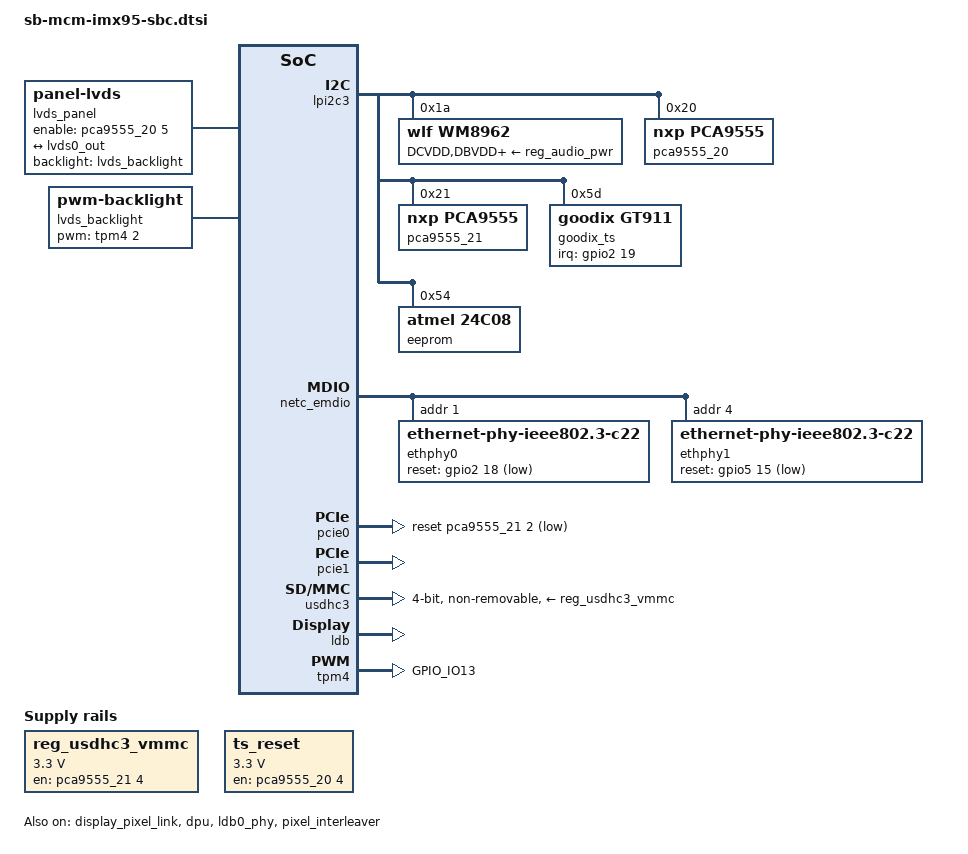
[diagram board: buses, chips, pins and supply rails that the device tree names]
&lpi2c3 {
	status = "okay";
	wm8962: codec@1a {
		compatible = "wlf,wm8962";
		reg = <0x1a>;
		clocks = <&scmi_clk IMX95_CLK_SAI3>;
		DCVDD-supply = <&reg_audio_pwr>;
		DBVDD-supply = <&reg_audio_pwr>;
		AVDD-supply = <&reg_audio_pwr>;
		CPVDD-supply = <&reg_audio_pwr>;
		MICVDD-supply = <&reg_audio_pwr>;
		PLLVDD-supply = <&reg_audio_pwr>;
		SPKVDD1-supply = <&reg_audio_pwr>;
		SPKVDD2-supply = <&reg_audio_pwr>;
		gpio-cfg = <
			0x0000 /* 0:Default */
			0x0000 /* 1:Default */
			0x0000 /* 2:FN_DMICCLK */
			0x0000 /* 3:Default */
			0x0000 /* 4:FN_DMICCDAT */
			0x0000 /* 5:Default */
		>;
	};

	pca9555_20: gpio@20 {
		compatible = "nxp,pca9555";
		reg = <0x20>;
		gpio-controller;
		#gpio-cells = <2>;
		status = "okay";
		gpio-line-names = "", "", "", "ts_rst",
				"", "", "", "",
				"", "", "", "",
				"", "","", "";
	};

	pca9555_21: gpio@21 {
		compatible = "nxp,pca9555";
		reg = <0x21>;
		gpio-controller;
		#gpio-cells = <2>;
		status = "okay";
		gpio-line-names = "", "", "modem rst", "nvme rst",
				"", "", "", "",
				"", "", "", "",
				"", "","", "";
	};

	goodix_ts: goodix@5d {
		compatible = "goodix,gt911";
		reg = <0x5d>;
		interrupt-parent = <&gpio2>;
		interrupts = <19 IRQ_TYPE_LEVEL_HIGH>;
		irq-gpios = <&gpio2 19 GPIO_ACTIVE_HIGH>;
		pinctrl-names = "default";
		pinctrl-0 = <&pinctrl_ts>;
		touchscreen-inverted-x;
		touchscreen-inverted-y;
		status = "okay";
	};

	eeprom@54 {
		compatible = "atmel,24c08";
		reg = <0x54>;
		pagesize = <16>;
	};
};

&gpio2 {
	gpio-line-names = "", "", "", "",
			"", "", "", "",
			"", "", "", "",
			"", "", "", "",
			"", "ethphy0 rst", "", "ts_irq",
			"", "", "", "",
			"", "", "", "",
			"", "", "", "";
};

&gpio5 {
	gpio-line-names = "", "", "", "",
			"", "", "", "",
			"", "", "", "",
			"", "", "", "ethphy1 rst",
			"", "", "", "",
			"", "", "", "",
			"", "", "", "",
			"", "","", "";
};

&netc_emdio {
	status = "okay";

	ethphy0: ethernet-phy@1 {
		compatible = "ethernet-phy-ieee802.3-c22";
		reg = <1>;
		eee-broken-1000t;
		reset-gpios = <&gpio2 18 GPIO_ACTIVE_LOW>;
		//reset-gpios = <&ethphy0_rst>;
		reset-assert-us = <10000>;
		reset-deassert-us = <80000>;
		realtek,clkout-disable;
	};

	ethphy1: ethernet-phy@4 {
		compatible = "ethernet-phy-ieee802.3-c22";
		reg = <4>;
		eee-broken-1000t;
		reset-gpios = <&gpio5 15 GPIO_ACTIVE_LOW>;
		reset-assert-us = <10000>;
		reset-deassert-us = <80000>;
		realtek,clkout-disable;
	};
};

&pcie0 {
	pinctrl-0 = <&pinctrl_pcie0>;
	pinctrl-names = "default";
	fsl,refclk-pad-mode = <IMX8_PCIE_REFCLK_PAD_OUTPUT>;
	reset-gpio = <&pca9555_21 2 GPIO_ACTIVE_LOW>;
	vpcie-supply = <&reg_pcie0>;
	status = "okay";
};

&pcie1 {
	pinctrl-0 = <&pinctrl_pcie1>;
	pinctrl-names = "default";
	fsl,refclk-pad-mode = <IMX8_PCIE_REFCLK_PAD_OUTPUT>;
	//reset-gpio = <&pca9555_21 3 GPIO_ACTIVE_HIGH>;
	vpcie-supply = <&reg_slot_pwr>;
	status = "okay";
};

#if 0
&pcie1_ep {
	pinctrl-0 = <&pinctrl_pcie1>;
	pinctrl-names = "default";
	fsl,refclk-pad-mode = <IMX8_PCIE_REFCLK_PAD_OUTPUT>;
	vpcie-supply = <&reg_slot_pwr>;
	status = "disabled";
};
#endif
/ {
	reg_usdhc3_vmmc: regulator-usdhc3 {
		compatible = "regulator-fixed";
		pinctrl-names = "default";
		pinctrl-0 = <&pinctrl_reg_usdhc3_vmmc>;
		regulator-name = "VDD_SD3_3V3";
		regulator-min-microvolt = <3300000>;
		regulator-max-microvolt = <3300000>;
		gpio = <&pca9555_21 4 GPIO_ACTIVE_LOW>;
		off-on-delay-us = <12000>;
		enable-active-high;
	};
};

&usdhc3 {
	pinctrl-names = "default", "state_100mhz", "state_200mhz", "sleep";
	pinctrl-0 = <&pinctrl_usdhc3>;
	pinctrl-1 = <&pinctrl_usdhc3_100mhz>;
	pinctrl-2 = <&pinctrl_usdhc3_200mhz>;
	pinctrl-3 = <&pinctrl_usdhc3>;
	vmmc-supply = <&reg_usdhc3_vmmc>;
	bus-width = <4>;
	non-removable;
	keep-power-in-suspend;
	wifi-host;
	status = "okay";
};

/ {
	lvds_panel: panel {
		compatible = "panel-lvds";
		backlight = <&lvds_backlight>;
		enable-gpios = <&pca9555_20 5 GPIO_ACTIVE_HIGH>;
		data-mapping = "vesa-24";
		width-mm = <154>;
		height-mm = <90>;
		status = "okay";

		panel-timing {
			clock-frequency = <42105000>;
			hactive = <1024>;
			vactive = <600>;
			hback-porch = <30>;
			hfront-porch = <30>;
			vback-porch = <10>;
			vfront-porch = <10>;
			hsync-len = <30>;
			vsync-len = <10>;
			de-active = <1>;
		};

		port {
			panel_in: endpoint {
				remote-endpoint = <&lvds0_out>;
			};
		};
	};

	lvds_backlight: backlight {
		compatible = "pwm-backlight";
		pwms = <&tpm4 2 6666667 PWM_POLARITY_INVERTED>;
		brightness-levels = <255 203 158 119 88 63 45 0>;
		default-brightness-level = <6>;
		status = "okay";
	};

	sound-wm8962 {
		compatible = "fsl,imx-audio-wm8962x";
		model = "wm8962-audio";
		audio-cpu = <&sai3>;
		audio-codec = <&wm8962>;

		audio-routing =
			"Headphone Jack", "HPOUTL",
			"Headphone Jack", "HPOUTR",
			"Ext Spk", "SPKOUTL",
			"Ext Spk", "SPKOUTR",
			"AMIC", "MICBIAS",
			"IN3R", "AMIC",
			"IN1R", "AMIC";
	};
	sound-micfil {
		compatible = "fsl,imx-audio-card";
		model = "micfil-audio";
		pri-dai-link {
			link-name = "micfil hifi";
			format = "i2s";
			cpu {
				sound-dai = <&micfil>;
			};
		};
	};

	/* touch screen reset helper */
	ts_reset: regulator-tsreset {
		compatible = "regulator-fixed";
		regulator-name = "tosuch-reset";
		regulator-min-microvolt = <3300000>;
		regulator-max-microvolt = <3300000>;
		gpio = <&pca9555_20 4 GPIO_ACTIVE_HIGH>;
		enable-active-high;
		regulator-always-on;
	};
};

&display_pixel_link {
	status = "okay";
};

&dpu {
	assigned-clocks = <&scmi_clk IMX95_CLK_DISP1PIX>,
			  <&scmi_clk IMX95_CLK_VIDEOPLL1_VCO>,
			  <&scmi_clk IMX95_CLK_VIDEOPLL1>;
	assigned-clock-parents = <&scmi_clk IMX95_CLK_VIDEOPLL1>;
	assigned-clock-rates = <0>, <4008000000>, <445333334>;
	status = "okay";
};

&mipi_dsi {
	status = "disabled";
};

&ldb {
	#address-cells = <1>;
	#size-cells = <0>;
	assigned-clocks = <&scmi_clk IMX95_CLK_LDBPLL_VCO>,
			  <&scmi_clk IMX95_CLK_LDBPLL>;
	assigned-clock-rates = <2986200000>, <497700000>;
	/* assigned-clock-rates = <3291120000>, <1097040000>; */
	status = "okay";

	channel@0 {
		#address-cells = <1>;
		#size-cells = <0>;
		reg = <0>;
		fsl,data-mapping = "spwg";
		fsl,data-width = <24>;
		status = "okay";

		port@1 {
			reg = <1>;

			lvds0_out: endpoint {
				remote-endpoint = <&panel_in>;
			};
		};
	};
};

&ldb0_phy {
	status = "okay";
};

&pixel_interleaver {
	#address-cells = <1>;
	#size-cells = <0>;
	status = "okay";

	channel@0 {
		reg = <0>;
		status = "okay";
	};
};

&tpm4 {
	pinctrl-names = "default";
	pinctrl-0 = <&pinctrl_tpm4>;
	status = "okay";
};

&scmi_iomuxc {
	pinctrl_tpm4: tpm4grp {
		fsl,pins = <
			IMX95_PAD_GPIO_IO13__TPM4_CH2	0x51e
		>;
	};

	pinctrl_ts: ts1grp {
		fsl,pins = <
			IMX95_PAD_GPIO_IO19__GPIO2_IO_BIT19 0x3fe
		>;
	};
};
